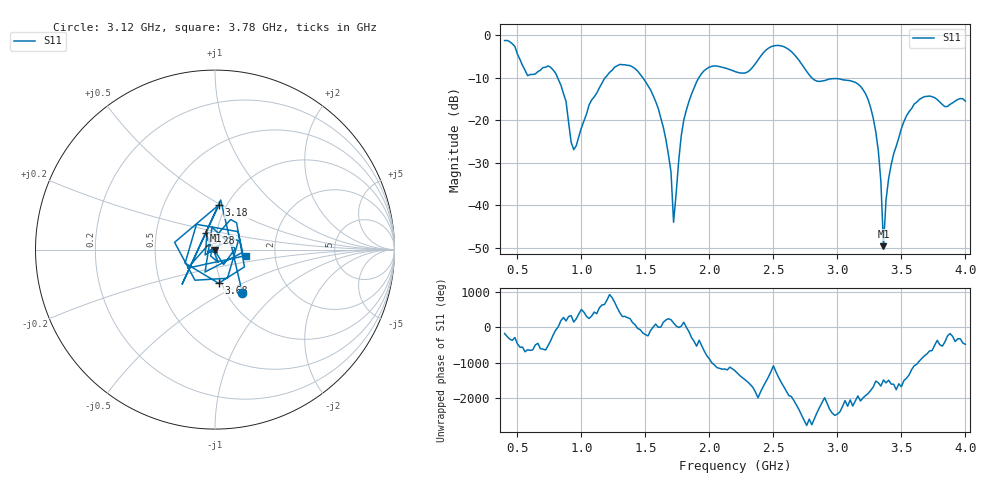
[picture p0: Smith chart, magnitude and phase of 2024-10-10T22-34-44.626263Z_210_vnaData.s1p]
! Created with skrf (http://scikit-rf.org).
# Hz S RI R 50.0
!freq ReS11 ImS11
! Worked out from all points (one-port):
!   181 points, 400 MHz to 4 GHz, reference 50 ohm
!   lowest |S11| = -49.6 dB at 3.36 GHz (marker M1), VSWR 1.01, Z = 50.2 - j0.235 ohm
!   |S11| at or under -10 dB: 813.7 MHz to 1.186 GHz (372.8 MHz wide, 37.3 % of centre); 1.479 GHz to 1.918 GHz (439.2 MHz wide, 25.9 % of centre); 2.798 GHz to end of sweep
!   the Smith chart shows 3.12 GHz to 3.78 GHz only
!   S11 on the Smith chart (normalised r, x): 3.12 GHz: 1.18, -0.62; 3.18 GHz: 0.92, +0.49; 3.28 GHz: 0.89, +0.17; 3.68 GHz: 0.97, -0.38; 3.78 GHz: 1.41, -0.10
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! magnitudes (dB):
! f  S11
! 400 MHz  -1.3
! 580 MHz  -9.6
! 760 MHz  -7.6
! 860 MHz  -13.8
! 940 MHz  -26.9
! 1.08 GHz  -15.3
! 1.3 GHz  -6.9
! 1.6 GHz  -17.2
! 1.7 GHz  -32.2
! 1.72 GHz  -44.0
! 1.76 GHz  -29.6
! 1.8 GHz  -19.9
! 1.92 GHz  -9.9
! 2.2 GHz  -8.6
! 2.66 GHz  -4.5
! 2.82 GHz  -10.6
! 3.1 GHz  -10.7
! 3.12 GHz  -10.9
! 3.18 GHz  -12.0
! 3.28 GHz  -19.5
! 3.34 GHz  -34.5
! 3.36 GHz  -49.6
! 3.38 GHz  -38.7
! 3.42 GHz  -30.5
! 3.56 GHz  -18.0
! 3.68 GHz  -14.5
! 3.78 GHz  -15.2
! 4 GHz  -15.5
